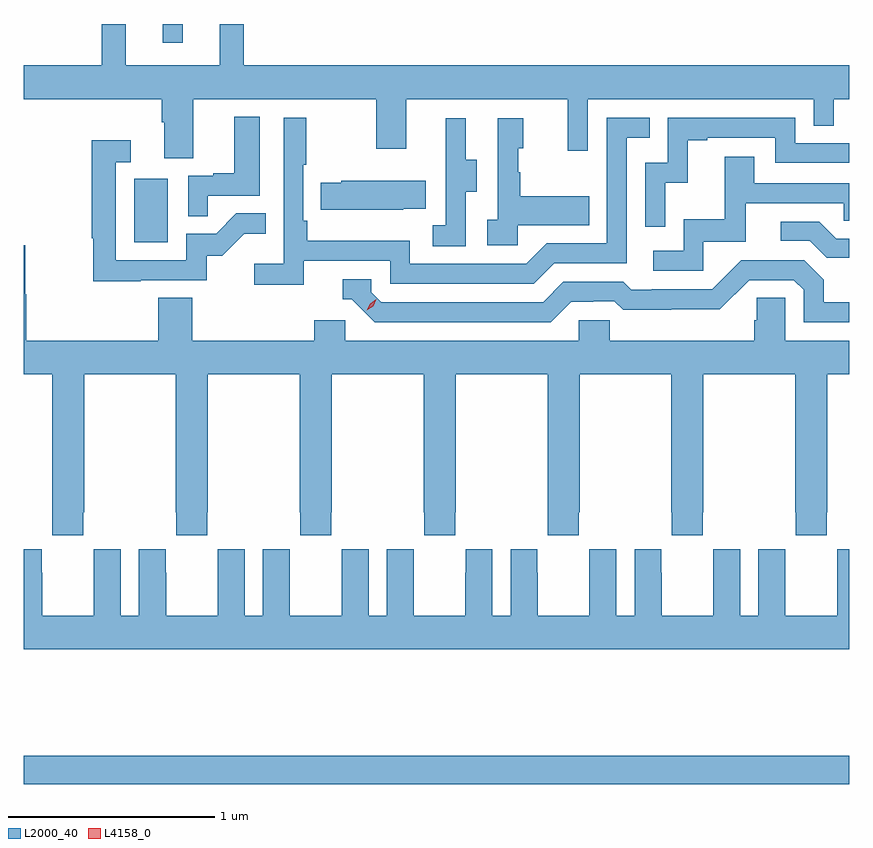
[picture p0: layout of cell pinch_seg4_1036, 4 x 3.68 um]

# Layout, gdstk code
import gdstk
lib = gdstk.Library(unit=1e-6, precision=1e-09)
def R(c, l, rs):  # rectangles x0, y0, x1, y1
    for r in rs: c.add(gdstk.rectangle(r[:2], r[2:], *l))
def P(c, l, *ps):  # polygons
    for p in ps: c.add(gdstk.Polygon(p, *l))
L2000_40 = (2000, 40)
L4158_0 = (4158, 0)

pinch_seg4_1036 = lib.new_cell('pinch_seg4_1036')
R(pinch_seg4_1036, L2000_40, [(864.973,749.548,868.973,749.684), (865.508,752.172,865.672,752.479), (865.647,753.138,865.744,753.229)])
P(pinch_seg4_1036, L2000_40, [(865.795,752.864),(866.68,752.864),(866.68,752.625),(866.827,752.625),(866.827,752.864),(867.608,752.864),(867.608,752.616),(867.705,752.616),(867.705,752.864),(868.8,752.864),(868.8,752.737),(868.896,752.737),(868.896,752.864),(868.973,752.864),(868.973,753.028),(866.039,753.028),(866.039,753.229),(865.922,753.229),(865.922,753.028),(865.469,753.028),(865.469,753.229),(865.351,753.229),(865.351,753.028),(864.973,753.028),(864.973,752.864),(865.643,752.864),(865.643,752.752),(865.655,752.752),(865.655,752.578),(865.795,752.578)],
  [(865.865,752.397),(866.116,752.397),(866.116,752.779),(865.994,752.779),(865.994,752.506),(865.891,752.506),(865.891,752.493),(865.77,752.493),(865.77,752.299),(865.865,752.299)],
  [(866.33,752.082),(866.748,752.082),(866.748,751.971),(867.445,751.971),(867.544,752.07),(867.894,752.07),(867.894,752.679),(868.007,752.679),(868.007,752.775),(867.798,752.775),(867.798,752.166),(867.507,752.166),(867.408,752.067),(866.844,752.067),(866.844,752.179),(866.348,752.179),(866.348,752.275),(866.328,752.275),(866.328,752.548),(866.341,752.548),(866.341,752.776),(866.232,752.776),(866.232,752.068),(866.091,752.068),(866.091,751.966),(866.33,751.966)],
  [(868.08,752.459),(868.19,752.459),(868.19,752.667),(868.285,752.667),(868.285,752.679),(868.614,752.679),(868.614,752.556),(868.973,752.556),(868.973,752.652),(868.71,752.652),(868.71,752.775),(868.092,752.775),(868.092,752.556),(867.984,752.556),(867.984,752.247),(868.08,752.247)],
  [(867.366,752.255),(867.713,752.255),(867.713,752.395),(867.379,752.395),(867.379,752.51),(867.369,752.51),(867.369,752.628),(867.394,752.628),(867.394,752.773),(867.27,752.773),(867.27,752.282),(867.219,752.282),(867.219,752.157),(867.366,752.157)],
  [(867.114,752.416),(867.169,752.416),(867.169,752.571),(867.115,752.571),(867.115,752.773),(867.017,752.773),(867.017,752.559),(867.018,752.559),(867.018,752.255),(866.955,752.255),(866.955,752.152),(867.114,752.152)],
  [(865.541,751.989),(865.86,751.989),(865.86,752.106),(865.936,752.106),(866.043,752.213),(866.147,752.213),(866.147,752.312),(866.004,752.312),(865.906,752.214),(865.761,752.214),(865.761,752.085),(865.419,752.085),(865.419,752.559),(865.492,752.559),(865.492,752.665),(865.303,752.665),(865.303,752.192),(865.311,752.192),(865.311,751.984),(865.541,751.984)],
  [(868.266,752.175),(868.471,752.175),(868.471,752.361),(868.945,752.361),(868.945,752.277),(868.973,752.277),(868.973,752.457),(868.513,752.457),(868.513,752.587),(868.369,752.587),(868.369,752.284),(868.17,752.284),(868.17,752.13),(868.023,752.13),(868.023,752.034),(868.266,752.034)],
  [(866.813,752.333),(866.921,752.333),(866.921,752.47),(866.511,752.47),(866.511,752.46),(866.413,752.46),(866.413,752.33),(866.813,752.33)],
  [(868.973,752.19),(868.909,752.19),(868.828,752.271),(868.641,752.271),(868.641,752.178),(868.782,752.178),(868.862,752.098),(868.973,752.098)],
  [(866.532,751.794),(866.381,751.794),(866.381,751.696),(865.79,751.696),(865.79,751.904),(865.625,751.904),(865.625,751.696),(864.986,751.696),(864.986,751.919),(864.981,751.919),(864.981,752.158),(864.973,752.158),(864.973,751.532),(865.111,751.532),(865.111,750.865),(865.113,750.865),(865.113,750.753),(865.263,750.753),(865.263,750.865),(865.266,750.865),(865.266,751.532),(865.711,751.532),(865.711,750.865),(865.713,750.865),(865.713,750.753),(865.863,750.753),(865.863,750.865),(865.866,750.865),(865.866,751.532),(866.311,751.532),(866.311,750.865),(866.313,750.865),(866.313,750.753),(866.463,750.753),(866.463,750.865),(866.466,750.865),(866.466,751.532),(866.911,751.532),(866.911,750.865),(866.913,750.865),(866.913,750.753),(867.063,750.753),(867.063,750.865),(867.066,750.865),(867.066,751.532),(867.511,751.532),(867.511,750.865),(867.513,750.865),(867.513,750.753),(867.663,750.753),(867.663,750.865),(867.666,750.865),(867.666,751.532),(868.111,751.532),(868.111,750.865),(868.113,750.865),(868.113,750.753),(868.263,750.753),(868.263,750.865),(868.266,750.865),(868.266,751.532),(868.711,751.532),(868.711,750.865),(868.713,750.865),(868.713,750.753),(868.863,750.753),(868.863,750.865),(868.866,750.865),(868.866,751.532),(868.973,751.532),(868.973,751.696),(868.662,751.696),(868.662,751.904),(868.525,751.904),(868.525,751.794),(868.511,751.794),(868.511,751.696),(867.813,751.696),(867.813,751.794),(867.663,751.794),(867.663,751.696),(866.532,751.696)],
  [(867.625,751.884),(867.732,751.884),(867.732,751.887),(867.835,751.887),(867.877,751.845),(868.11,751.845),(868.11,751.847),(868.346,751.847),(868.488,751.989),(868.704,751.989),(868.752,751.941),(868.752,751.785),(868.973,751.785),(868.973,751.881),(868.849,751.881),(868.849,751.991),(868.755,752.085),(868.449,752.085),(868.308,751.944),(868.015,751.944),(868.015,751.941),(867.916,751.941),(867.877,751.98),(867.588,751.98),(867.489,751.881),(866.706,751.881),(866.658,751.929),(866.658,751.992),(866.519,751.992),(866.519,751.896),(866.562,751.896),(866.673,751.785),(867.526,751.785)],
  [(868.973,750.685),(868.914,750.685),(868.914,750.572),(868.913,750.572),(868.913,750.364),(868.663,750.364),(868.663,750.572),(868.662,750.572),(868.662,750.685),(868.532,750.685),(868.532,750.364),(868.444,750.364),(868.444,750.685),(868.314,750.685),(868.314,750.572),(868.313,750.572),(868.313,750.364),(868.063,750.364),(868.063,750.572),(868.062,750.572),(868.062,750.685),(867.932,750.685),(867.932,750.364),(867.844,750.364),(867.844,750.685),(867.714,750.685),(867.714,750.572),(867.713,750.572),(867.713,750.364),(867.463,750.364),(867.463,750.572),(867.462,750.572),(867.462,750.685),(867.332,750.685),(867.332,750.364),(867.244,750.364),(867.244,750.685),(867.114,750.685),(867.114,750.572),(867.113,750.572),(867.113,750.364),(866.863,750.364),(866.863,750.572),(866.862,750.572),(866.862,750.685),(866.732,750.685),(866.732,750.364),(866.644,750.364),(866.644,750.685),(866.514,750.685),(866.514,750.572),(866.513,750.572),(866.513,750.364),(866.263,750.364),(866.263,750.572),(866.262,750.572),(866.262,750.685),(866.132,750.685),(866.132,750.364),(866.044,750.364),(866.044,750.685),(865.914,750.685),(865.914,750.572),(865.913,750.572),(865.913,750.364),(865.663,750.364),(865.663,750.572),(865.662,750.572),(865.662,750.685),(865.532,750.685),(865.532,750.364),(865.444,750.364),(865.444,750.685),(865.314,750.685),(865.314,750.572),(865.313,750.572),(865.313,750.364),(865.063,750.364),(865.063,750.572),(865.062,750.572),(865.062,750.685),(864.973,750.685),(864.973,750.2),(868.973,750.2)])
P(pinch_seg4_1036, L4158_0, [(866.636,751.842),(866.636,751.842),(866.651,751.875),(866.682,751.895),(866.682,751.895),(866.682,751.895),(866.666,751.862),(866.636,751.842)])

lib.write_gds('pinch_seg4_1036.gds')
